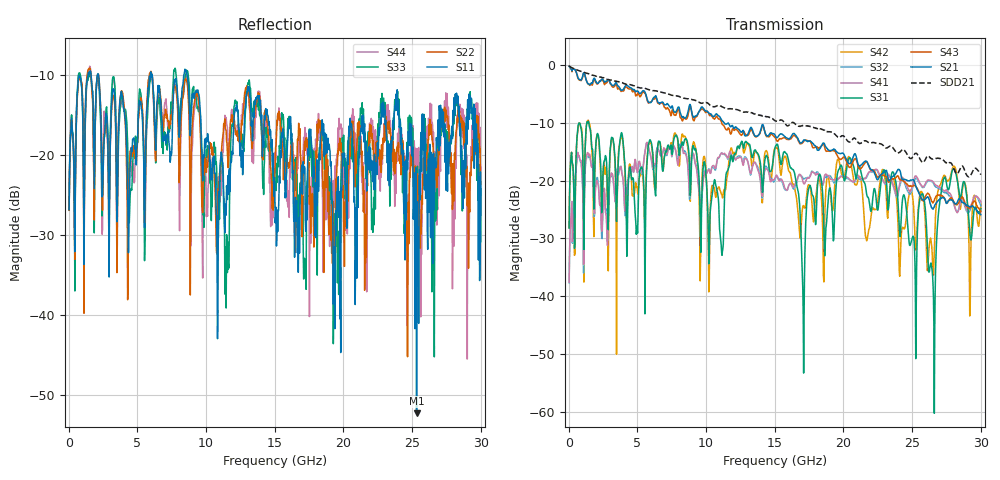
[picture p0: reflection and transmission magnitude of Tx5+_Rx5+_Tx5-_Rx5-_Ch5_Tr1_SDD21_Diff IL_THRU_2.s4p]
! MS46524B
! 2428202/M1: 23092762/M2: 24162104
! 11/13/2025 4:37:36 PM
! C:\ANRITSUVNA\TEMP\2.S4P
! CHANNEL.5
! TR.MEASUREMENT
! CORRECTED.DATA
# GHZ S RI R 50.0
! FREQ.GHZ  S11RE  S11IM  S12RE  S12IM  S13RE  S13IM  S14RE  S14IM
!  S21RE  S21IM  S22RE  S22IM  S23RE  S23IM  S24RE  S24IM
!  S31RE  S31IM  S32RE  S32IM  S33RE  S33IM  S34RE  S34IM
!  S41RE  S41IM  S42RE  S42IM  S43RE  S43IM  S44RE  S44IM
!; PortSelection: Port_1234
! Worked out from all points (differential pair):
!   1000 points, 30 MHz to 30 GHz, reference 50 ohm
!   strongest paths, dB at 30 MHz, 7.53 GHz, 15.03 GHz, 22.53 GHz, 30 GHz:
!     S21: -0.2, -7.0, -12.2, -19.7, -25.9
!     S43: -0.2, -7.7, -12.5, -19.4, -25.4
!     S31: -28.2, -15.5, -14.2, -24.7, -24.9
!     S41: -37.6, -15.6, -19.5, -18.4, -23.7
!     S32: -37.7, -15.8, -19.8, -18.6, -24.4
!     S42: -28.2, -14.8, -14.4, -22.8, -24.1
!   taken as a pair (ports 1,3 in; 2,4 out), SDD21 dB: -0.1, -5.2, -9.6, -13.5, -19.0
!   lowest |S11| = -52.2 dB at 25.32 GHz (marker M1), VSWR 1.00, Z = 50 + j0.245 ohm
!   |S11| at or under -10 dB: 2.17 GHz to 5.952 GHz (3.782 GHz wide, 93.1 % of centre); 6.068 GHz to 8.377 GHz (2.31 GHz wide, 32 % of centre); 8.616 GHz to end of sweep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
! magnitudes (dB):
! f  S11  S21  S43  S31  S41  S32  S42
! 30 MHz  -26.8  -0.2  -0.2  -28.2  -37.6  -37.7  -28.2
! 1.41 GHz  -10.0  -3.2  -3.3  -10.0  -15.2  -15.7  -9.5
! 11.52 GHz  -24.6  -10.2  -11.2  -18.5  -15.9  -16.0  -19.4
! 13.08 GHz  -12.0  -11.7  -12.1  -13.6  -17.1  -17.1  -13.7
! 23.85 GHz  -13.6  -18.6  -19.4  -20.8  -22.6  -22.7  -22.8
! 25.32 GHz  -52.2  -21.3  -21.2  -35.3  -19.3  -19.6  -30.2
! 30 GHz  -27.5  -25.9  -25.4  -24.9  -23.7  -24.4  -24.1
